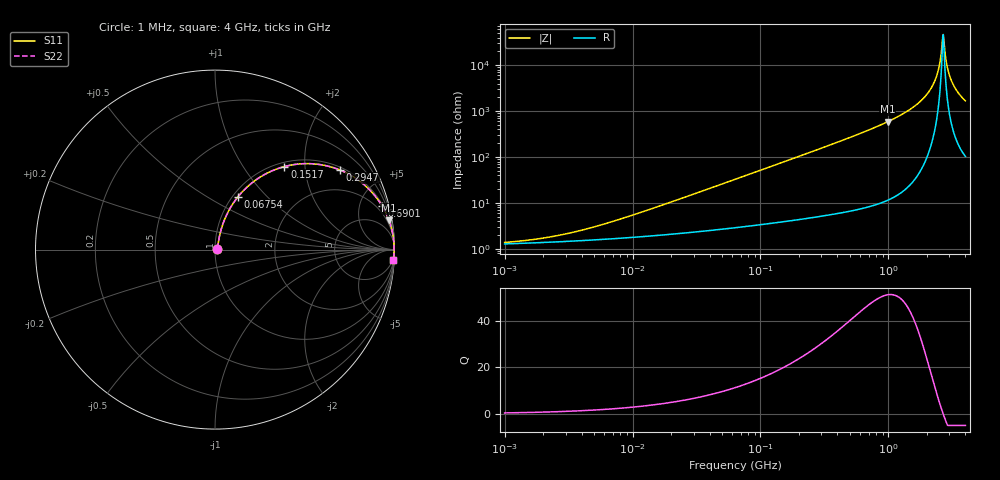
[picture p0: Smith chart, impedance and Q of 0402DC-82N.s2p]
# MHz  S  MA  R  50
!Freq  MagS11  AngS11  MagS21  AngS21  MagS12  AngS12  MagS22  AngS22
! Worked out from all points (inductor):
!   801 points, 1 MHz to 4 GHz, reference 50 ohm
!   read as one part in series: L = 82 nH near 10.54 MHz
!   highest Q = 51.3 at 992.3 MHz (marker M1), where L = 95 nH
!   self-resonance near 2.659 GHz
!   S11 on the Smith chart (normalised r, x): 1 MHz: 1.03, +0.01; 67.54 MHz: 1.06, +0.70; 151.7 MHz: 1.08, +1.57; 294.7 MHz: 1.10, +3.07; 690.1 MHz: 1.16, +7.62; 4 GHz: 3, -34
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1  0.0137 21.5  0.9873 -0.3  0.9873 -0.3  0.0137 21.5
4.016383  0.02529 52.5  0.9848 -1.2  0.9848 -1.2  0.02529 52.5
15.96482  0.0827 71.9  0.9774 -4.6  0.9774 -4.6  0.0827 71.9
63.45894  0.3042 67.3  0.9261 -17.6  0.9261 -17.6  0.3042 67.3
67.53521  0.3215 66.5  0.9201 -18.7  0.9201 -18.7  0.3215 66.5
151.7107  0.6031 50.1  0.7681 -37.0  0.7681 -37.0  0.6031 50.1
252.2445  0.7817 36.5  0.5958 -51.4  0.5958 -51.4  0.7817 36.5
294.7238  0.8259 32.5  0.537 -55.6  0.537 -55.6  0.8259 32.5
690.1225  0.9622 14.6  0.2526 -74.1  0.2526 -74.1  0.9622 14.6
992.3031  0.9829 9.5  0.1659 -79.3  0.1659 -79.3  0.9829 9.5
1013.11  0.9837 9.3  0.1615 -79.6  0.1615 -79.6  0.9837 9.3
1566.457  0.9947 4.7  0.08116 -84.0  0.08116 -84.0  0.9947 4.7
2051.543  0.9974 2.2  0.03912 -85.1  0.03912 -85.1  0.9974 2.2
2372.29  0.9979 1.0  0.0178 -82.8  0.0178 -82.8  0.9979 1.0
2472.821  0.998 0.7  0.01184 -79.8  0.01184 -79.8  0.998 0.7
2604.497  0.9979 0.2  0.004645 -63.6  0.004645 -63.6  0.9979 0.2
2686.845  0.9979 -0.0  0.002136 8.8  0.002136 8.8  0.9979 -0.0
2771.796  0.9978 -0.3  0.005293 65.4  0.005293 65.4  0.9978 -0.3
2949.842  0.9976 -0.8  0.01403 79.6  0.01403 79.6  0.9976 -0.8
3106.919  0.9973 -1.2  0.02151 82.1  0.02151 82.1  0.9973 -1.2
3482.558  0.9963 -2.2  0.03826 83.4  0.03826 83.4  0.9963 -2.2
4000  0.9946 -3.4  0.05924 83.1  0.05924 83.1  0.9946 -3.4
